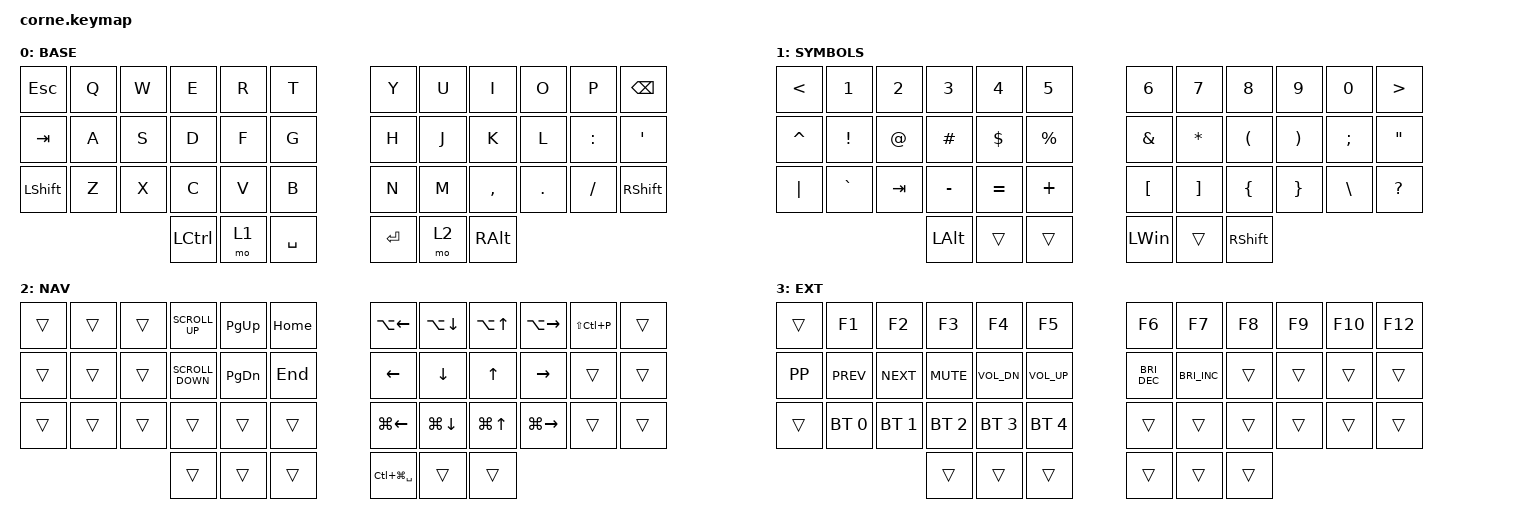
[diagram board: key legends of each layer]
#include <behaviors.dtsi>
#include <dt-bindings/zmk/bt.h>
#include <dt-bindings/zmk/keys.h>

&led_strip {
    chain-length = <0>;

    // chain-length = <27>;
    // 21 backlight + 6 glowlight
};

#define TAPPING_TERM 200

/ {
    behaviors {
        /*
    * td_lock groups locking functions into one key:
    *  - tap once to lock the host
    *  - tap twice to put the host to sleep
    */

        td_lock: tap_dance_lock {
            compatible = "zmk,behavior-tap-dance";
            label = "TAP_DANCE_LOCK";
            #binding-cells = <0>;
            tapping-term-ms = <100>;
            bindings = <&kp LG(LC(Q))>, <&kp LG(LA(C_EJECT))>;
        };
    };

    combos {
        compatible = "zmk,combos";

        Clear_BLE_Profile {
            bindings = <&bt BT_CLR>;
            key-positions = <0 38 5>;
        };

        Space {
            bindings = <&kp SPACE>;
            key-positions = <29 28>;
        };

        Enter {
            bindings = <&kp ENTER>;
            key-positions = <17 16>;
        };

        Capslock {
            bindings = <&kp CLCK>;
            key-positions = <5 6>;
        };
    };

    macros {
        git_status: git_status {
            compatible = "zmk,behavior-macro";
            #binding-cells = <0>;
            bindings = <&kp G &kp I &kp T &kp SPACE &kp S &kp T &kp A &kp T &kp U &kp S>;
            label = "GIT_STATUS";
        };

        git_commit_all: git_commit_all {
            compatible = "zmk,behavior-macro";
            #binding-cells = <0>;
            bindings = <&kp G &kp I &kp T &kp SPACE &kp C &kp O &kp M &kp M &kp I &kp T &kp SPACE &kp MINUS &kp A &kp MINUS &kp M &kp SPACE &kp DQT &kp DQT &kp LEFT_ARROW>;
            label = "GIT_COMMIT";
        };
    };

    keymap {
        compatible = "zmk,keymap";

        base_layer {
            label = "BASE";
            bindings = <
&kp ESCAPE      &kp Q  &kp W  &kp E      &kp R  &kp T        &kp Y      &kp U  &kp I          &kp O    &kp P      &kp BACKSPACE
&kp TAB         &kp A  &kp S  &kp D      &kp F  &kp G        &kp H      &kp J  &kp K          &kp L    &kp COLON  &kp SINGLE_QUOTE
&kp LEFT_SHIFT  &kp Z  &kp X  &kp C      &kp V  &kp B        &kp N      &kp M  &kp COMMA      &kp DOT  &kp SLASH  &kp RIGHT_SHIFT
                              &kp LCTRL  &mo 1  &kp SPACE    &kp ENTER  &mo 2  &kp RIGHT_ALT
            >;
        };

        symbols_layer {
            label = "SYMBOLS";
            bindings = <
&kp LESS_THAN  &kp N1     &kp N2   &kp N3        &kp N4     &kp N5       &kp N6            &kp N7             &kp N8                &kp N9                 &kp N0         &kp GREATER_THAN
&kp CARET      &kp EXCL   &kp AT   &kp HASH      &kp DLLR   &kp PRCNT    &kp AMPERSAND     &kp ASTERISK       &kp LEFT_PARENTHESIS  &kp RIGHT_PARENTHESIS  &kp SEMICOLON  &kp DOUBLE_QUOTES
&kp PIPE       &kp GRAVE  &kp TAB  &kp MINUS     &kp EQUAL  &kp PLUS     &kp LEFT_BRACKET  &kp RIGHT_BRACKET  &kp LEFT_BRACE        &kp RIGHT_BRACE        &kp BACKSLASH  &kp QUESTION
                                   &kp LEFT_ALT  &trans     &trans       &kp LEFT_WIN      &trans             &kp RIGHT_SHIFT
            >;
        };

        nav_layer {
            label = "NAV";
            bindings = <
&trans  &trans  &trans  &kp K_SCROLL_UP    &kp PG_UP  &kp HOME    &kp LA(LEFT)       &kp LA(DOWN)  &kp LA(UP)  &kp LA(RIGHT)  &kp LS(LC(P))  &trans
&trans  &trans  &trans  &kp K_SCROLL_DOWN  &kp PG_DN  &kp END     &kp LEFT           &kp DOWN      &kp UP      &kp RIGHT      &trans         &trans
&trans  &trans  &trans  &trans             &trans     &trans      &kp LG(LEFT)       &kp LG(DOWN)  &kp LG(UP)  &kp LG(RIGHT)  &trans         &trans
                        &trans             &trans     &trans      &kp LC(LG(SPACE))  &trans        &trans
            >;
        };

        extended_layer {
            label = "EXT";
            bindings = <
&trans    &kp F1        &kp F2        &kp F3        &kp F4        &kp F5          &kp F6                &kp F7                &kp F8  &kp F9  &kp F10  &kp F12
&kp K_PP  &kp K_PREV    &kp K_NEXT    &kp K_MUTE    &kp C_VOL_DN  &kp C_VOL_UP    &kp C_BRIGHTNESS_DEC  &kp C_BRIGHTNESS_INC  &trans  &trans  &trans   &trans
&trans    &bt BT_SEL 0  &bt BT_SEL 1  &bt BT_SEL 2  &bt BT_SEL 3  &bt BT_SEL 4    &trans                &trans                &trans  &trans  &trans   &trans
                                      &trans        &trans        &trans          &trans                &trans                &trans
            >;
        };
    };

    conditional_layers {
        compatible = "zmk,conditional-layers";

        Activate_EXT {
            if-layers = <1 2>;
            then-layer = <3>;
        };
    };
};
